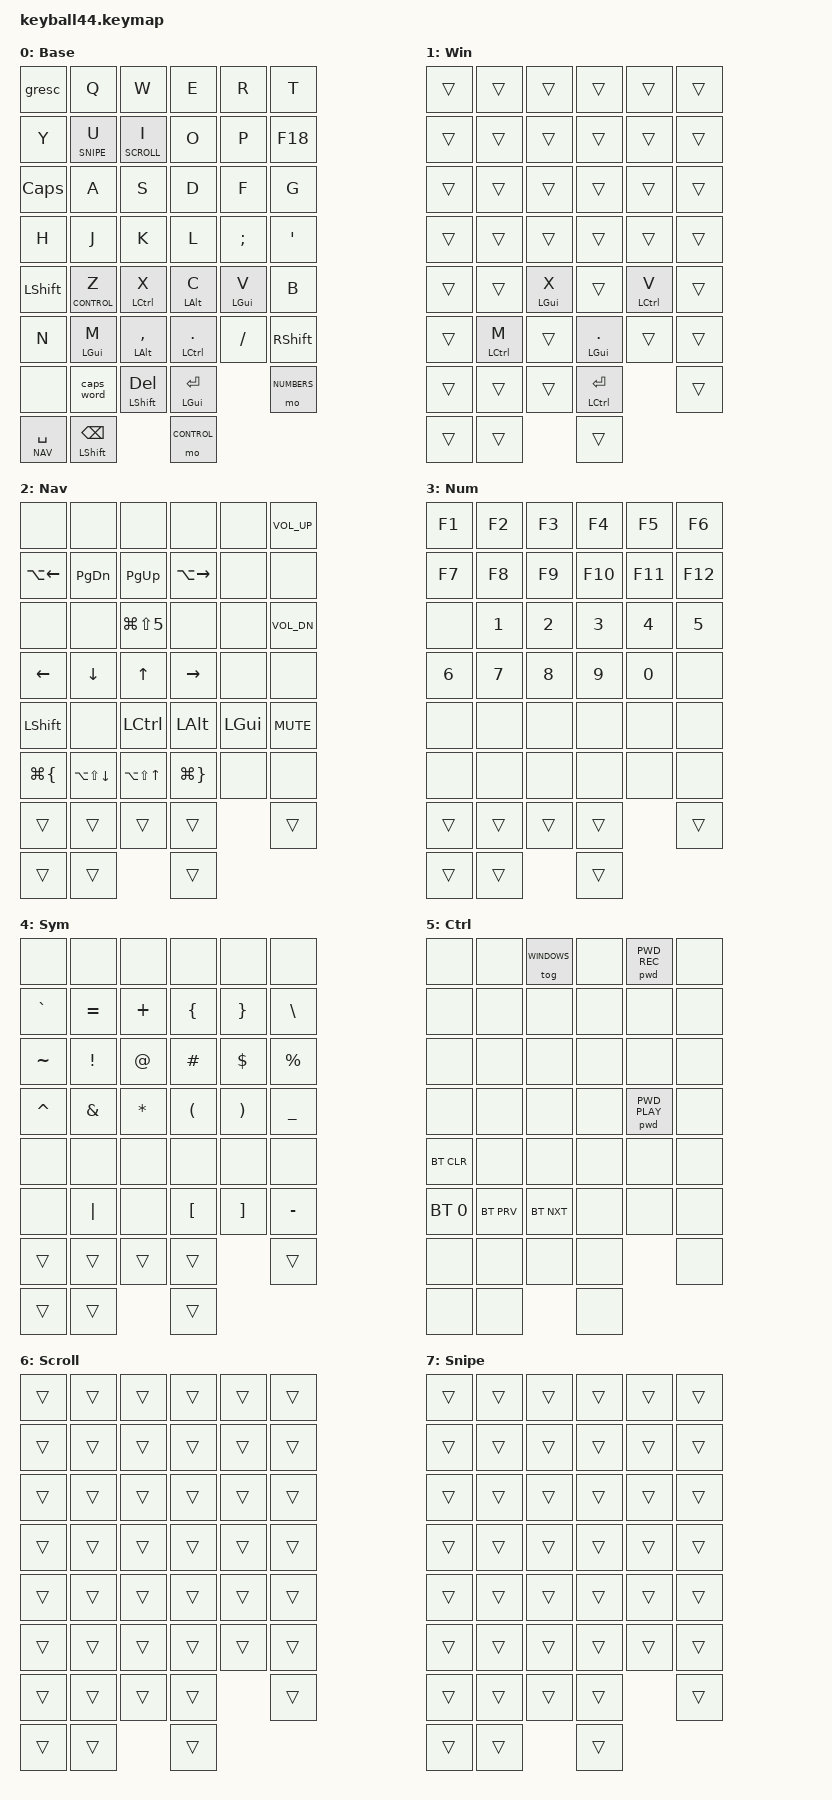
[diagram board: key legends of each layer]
#define DEFAULT 0
#define WINDOWS 1
#define NAV     2
#define NUMBERS 3
#define SYMBOL  4
#define CONTROL 5
#define SCROLL  6
#define SNIPE   7

// &pwd params (see behaviors { pwd } below)
#define PWD_REC  0
#define PWD_PLAY 1
#define PWD_CLR  2

#include <behaviors/mouse_keys.dtsi>
#include <behaviors.dtsi>
#include <dt-bindings/zmk/bt.h>
#include <dt-bindings/zmk/keys.h>
#include <dt-bindings/zmk/mouse.h>
#include <dt-bindings/zmk/rgb.h>
#include <dt-bindings/zmk/ext_power.h>
#include <dt-bindings/zmk/backlight.h>

// nice!view CS override moved to keyball44_{left,right}.overlay so this keymap
// stays display-free and can be shared with the display-less dongle build.

&lt {
    tapping-term-ms = <240>;
    flavor = "balanced";
    quick-tap-ms = <150>;
    // Don't treat U/I/SPACE/Z as a layer-hold if you were just typing.
    // This is the main fix for dropped letters on fast rolls.
    require-prior-idle-ms = <150>;
};

&mt {
    tapping-term-ms = <200>;
    flavor = "tap-preferred";
    quick-tap-ms = <150>;
    require-prior-idle-ms = <125>;
};

// continue-list REPLACES ZMK's default (UNDERSCORE BACKSPACE DELETE), so the
// defaults must be listed again or fixing a typo ends caps word.
&caps_word { continue-list = <UNDERSCORE MINUS BACKSPACE DELETE>; };

/ {
    combos {
        compatible = "zmk,combos";
        // NOTE: no require-prior-idle-ms here on purpose -- it made combos you
        // fire right after typing (e.g. ' = L+;) feel laggy. The 50ms two-key
        // window is the only guard. If a specific combo misfires mid-word,
        // add a SMALL require-prior-idle-ms (~40) to just that one.
        combo_esc {
            timeout-ms = <50>;
            key-positions = <2 3>;
            bindings = <&gresc>;
        };
        combo_tab {
            timeout-ms = <50>;
            key-positions = <14 15>;
            bindings = <&kp TAB>;
        };
        combo_quote {
            timeout-ms = <50>;
            key-positions = <21 22>;
            bindings = <&kp SQT>;
        };
        combo_left_click {
            timeout-ms = <50>;
            key-positions = <19 20>;
            bindings = <&mkp LCLK>;
        };
        combo_right_click {
            timeout-ms = <50>;
            key-positions = <20 21>;
            bindings = <&mkp RCLK>;
        };
        combo_symbol {
            timeout-ms = <50>;
            key-positions = <41 42>;
            bindings = <&mo SYMBOL>;
        };
        combo_minus {
            timeout-ms = <50>;
            key-positions = <9 10>;
            bindings = <&kp MINUS>;
        };
        // P+\ = pipe (next to the backslash key it shifts from).
        // Plus = ;+' (was I+O). Moved 2026-11-11 to test the random "iii"
        // repeats: I (&lt SCROLL I) was the only key that was BOTH a hold-tap
        // and a combo member, and that pairing is a known way for ZMK to
        // lose a key-up (host then auto-repeats). Keep hold-tap keys out of
        // combos. If the repeats continue, this wasn't it -- look at BLE.
        combo_plus {
            timeout-ms = <50>;
            key-positions = <22 23>;
            bindings = <&kp PLUS>;
        };
        combo_pipe {
            timeout-ms = <50>;
            key-positions = <10 11>;
            bindings = <&kp PIPE>;
        };
        // Left-hand space (D+F), one column over from S+D=tab. Lets you hit
        // space while the right thumb is busy holding NAV or the SYMBOL combo.
        // If it misfires on fast d->f rolls ("handful", "mindful"), add a
        // small require-prior-idle-ms (~40) to just this combo.
        // Hold Z or the rightmost thumb (CONTROL), then T+Y together =
        // dongle into flash mode.
        // Three keys across both hands on purpose: an accidental hit leaves
        // the keyboard dead until you flash or unplug the dongle.
        combo_dongle_boot {
            timeout-ms = <50>;
            key-positions = <5 6>;
            layers = <CONTROL>;
            bindings = <&dongle_boot>;
        };
        // Hold Z or the rightmost thumb (CONTROL), then:
        //   Esc + left Shift   (0+24)  = LEFT half into flash mode
        //   F18 + right Shift  (11+35) = RIGHT half into flash mode
        // Combos run on the dongle, so stock &bootloader would reboot the
        // dongle; &half_boot forwards it to the half that owns the position.
        // CONTROL-only, so Shift+Esc (~) on the base layer is untouched.
        combo_left_boot {
            timeout-ms = <50>;
            key-positions = <0 24>;
            layers = <CONTROL>;
            bindings = <&half_boot 24>;
        };
        combo_right_boot {
            timeout-ms = <50>;
            key-positions = <11 35>;
            layers = <CONTROL>;
            bindings = <&half_boot 35>;
        };
        combo_space {
            timeout-ms = <50>;
            key-positions = <15 16>;
            bindings = <&kp SPACE>;
        };
    };

    behaviors {
        hm: homerow_mods {
            compatible = "zmk,behavior-hold-tap";
            label = "HOMEROW_MODS";
            #binding-cells = <2>;
            tapping-term-ms = <250>;
            quick-tap-ms = <150>;
            require-prior-idle-ms = <125>;
            flavor = "tap-preferred";
            bindings = <&kp>, <&kp>;
        };

        // Thumb mods: NO require-prior-idle-ms. Thumbs get pressed right after
        // typing/layer taps by design, so the "instant tap if recently typed"
        // rule that protects the finger home-row mods turns Cmd-holds into
        // stray Enters here. Balanced flavor so chording another key while
        // holding resolves as the modifier without waiting out the term.
        hmt: thumb_mods {
            compatible = "zmk,behavior-hold-tap";
            label = "THUMB_MODS";
            #binding-cells = <2>;
            tapping-term-ms = <200>;
            quick-tap-ms = <150>;
            flavor = "balanced";
            bindings = <&kp>, <&kp>;
        };

        bkspc_shft: backspace_shift {
            compatible = "zmk,behavior-hold-tap";
            label = "BACKSPACE_SHIFT";
            #binding-cells = <2>;
            tapping-term-ms = <200>;
            quick-tap-ms = <175>;
            flavor = "tap-preferred";
            bindings = <&kp>, <&kp>;
        };
        
        // RAM-only password macro (src/behavior_ram_macro.c). PWD_REC, type
        // the password (it still reaches the host, so type it into the real
        // prompt), then Enter/Esc saves it -- the Enter/Esc itself is sent
        // but not stored. PWD_PLAY types it back. Lives only in the central's
        // RAM: gone on reset/power loss, never in flash or over split BLE.
        // 30s of no typing while recording aborts + wipes.
        pwd: password_macro {
            compatible = "zmk,behavior-ram-macro";
            #binding-cells = <1>;
            display-name = "Password Macro";
        };

        // Reboot the DONGLE into its UF2 bootloader (mounts as NICENANO), so
        // re-flashing it needs no RST-GND short. Stock &bootloader can't do
        // this: it reboots whichever half the key is on. See
        // src/behavior_central_bootloader.c. Bound to the CONTROL-layer T+Y
        // combo below.
        dongle_boot: dngboot {
            compatible = "zmk,behavior-central-reset";
            type = <RST_UF2>;
            #binding-cells = <0>;
            display-name = "Dongle Bootloader";
        };

        // Reboot one HALF into its UF2 bootloader from a combo. Param = a key
        // position on that half (src/behavior_half_bootloader.c).
        half_boot: half_bootloader {
            compatible = "zmk,behavior-half-bootloader";
            #binding-cells = <1>;
            display-name = "Half Bootloader";
        };

        gresc: grave_escape {
            compatible = "zmk,behavior-mod-morph";
            label = "GRAVE_ESCAPE";
            #binding-cells = <0>;
            bindings = <&kp ESC>, <&kp GRAVE>;
            mods = <(MOD_LGUI|MOD_LSFT|MOD_RGUI|MOD_RSFT)>;
            // Keep shift so shift+combo yields ~ (tilde), not a bare backtick.
            keep-mods = <(MOD_LGUI|MOD_RGUI|MOD_LSFT|MOD_RSFT)>;
        };
    };

    keymap {
        compatible = "zmk,keymap";

        default_layer {
            label = "DEFAULT";
            display-name = "Base";
            bindings = <
// Row 0 Left - 6 keys
&gresc          &kp Q      &kp W      &kp E      &kp R      &kp T
// Row 0 Right - 6 keys
// Far-right key = F18, the meeting mute/push-to-talk key. Tap/hold logic and
// the actual mic muting live in Hammerspoon on the Mac (~/.hammerspoon), so it
// works in Meet/Teams/Zoom without focus. Backslash is still on SYMBOL, and
// the P+\ pipe combo still fires (it's by position).
&kp Y           &lt SNIPE U &lt SCROLL I &kp O      &kp P      &kp F18
// Row 1 Left - 6 keys
&kp CAPS        &kp A      &kp S      &kp D      &kp F      &kp G
// Row 1 Right - 6 keys
&kp H           &kp J      &kp K      &kp L      &kp SEMI   &kp SQT
// Row 2 Left - 6 keys
&kp LEFT_SHIFT  &lt CONTROL Z &hm LCTRL X &hm LALT C &hm LGUI V &kp B
// Row 2 Right - 6 keys
&kp N           &hm LGUI M &hm LALT COMMA &hm LCTRL DOT &kp SLASH  &kp RIGHT_SHIFT
// Row 3 - Thumb row (5 left + 3 right = 8 keys)
// Left thumb keys (5 keys): first was dead -> now caps_word
&none           &caps_word &hmt LSHFT DEL &hmt LGUI RET &mo NUMBERS
// Right thumb keys (3 keys)
// Rightmost thumb = hold for CONTROL (same as holding Z).
&lt NAV SPACE    &bkspc_shft LSHFT BSPC &mo CONTROL
            >;
        };

        // Toggle (via CONTROL layer) that swaps GUI<->CTRL so the same fingers
        // that hit Cmd on macOS hit Ctrl on Windows/Linux. Everything else
        // falls through (&trans) to the base layer.
        windows {
            label = "WINDOWS";
            display-name = "Win";
            bindings = <
// Row 0 Left - 6 keys
&trans          &trans     &trans     &trans     &trans     &trans
// Row 0 Right - 6 keys
&trans          &trans     &trans     &trans     &trans     &trans
// Row 1 Left - 6 keys
&trans          &trans     &trans     &trans     &trans     &trans
// Row 1 Right - 6 keys
&trans          &trans     &trans     &trans     &trans     &trans
// Row 2 Left - 6 keys  (X: CTRL->GUI, V: GUI->CTRL)
&trans          &trans     &hm LGUI X &trans     &hm LCTRL V &trans
// Row 2 Right - 6 keys (M: GUI->CTRL, DOT: CTRL->GUI)
&trans          &hm LCTRL M &trans    &hm LGUI DOT &trans    &trans
// Row 3 - Thumb row (RET: GUI->CTRL)
&trans          &trans     &trans     &hmt LCTRL RET &trans
&trans          &trans     &trans
            >;
        };

        nav {
            label = "NAV";
            display-name = "Nav";
            // Right hand: arrows on HJKL home row; the row above is the
            // "amplified" version of the arrow below it -- Y=word-left over
            // left, U=page-down over down, I=page-up over up, O=word-right
            // over right.
            // Left hand: plain mods on the SAME fingers as the base-layer
            // homerow mods (X=Ctrl, C=Opt, V=Cmd) plus pinky Shift, so
            // Space+C+H/L = word jump, Space+V+H/L = line start/end, and
            // adding pinky Shift turns any of it into selection.
            // S = screenshot (Cmd+Shift+5 -> CleanShot X).
            bindings = <
// Row 0 Left - 6 keys
&none           &none      &none      &none      &none      &kp C_VOL_UP
// Row 0 Right - 6 keys
&kp LA(LEFT)    &kp PG_DN  &kp PG_UP  &kp LA(RIGHT) &none   &none
// Row 1 Left - 6 keys
&none           &none      &kp LG(LS(N5)) &none  &none      &kp C_VOL_DN
// Row 1 Right - 6 keys
&kp LEFT        &kp DOWN   &kp UP     &kp RIGHT  &none      &none
// Row 2 Left - 6 keys
&kp LSHFT       &none      &kp LCTRL  &kp LALT   &kp LGUI   &kp C_MUTE
// Row 2 Right - 6 keys
&kp LG(LBRC)    &kp LA(LS(DOWN)) &kp LA(LS(UP)) &kp LG(RBRC) &none &none
// Row 3 - Thumb row: pass through, so Enter/Del work while holding NAV and
// holding the Del thumb (Shift) + HJKL selects.
&trans          &trans     &trans     &trans     &trans
&trans          &trans     &trans
            >;
        };

        numbers {
            label = "NUMBERS";
            display-name = "Num";
            bindings = <
// Row 0 Left - 6 keys
&kp F1          &kp F2     &kp F3     &kp F4     &kp F5     &kp F6
// Row 0 Right - 6 keys
&kp F7          &kp F8     &kp F9     &kp F10    &kp F11    &kp F12
// Row 1 Left - 6 keys
&none           &kp N1     &kp N2     &kp N3     &kp N4     &kp N5
// Row 1 Right - 6 keys
&kp N6          &kp N7     &kp N8     &kp N9     &kp N0     &none
// Row 2 Left - 6 keys
&none           &none      &none      &none      &none      &none
// Row 2 Right - 6 keys
&none           &none      &none      &none      &none      &none
// Row 3 - Thumb row
&trans          &trans     &trans     &trans     &trans
&trans          &trans     &trans
            >;
        };

        // Home row = the shifted number row of a normal keyboard, ~ through _.
        // Each symbol sits on the key its digit uses on NUMBERS (! on A = 1,
        // ( on L = 9). Bracket family stacked on L/; : { } above, ( ) home,
        // [ ] below. _ over - at the far right, like a real -/_ key.
        symbol {
            label = "SYMBOL";
            display-name = "Sym";
            bindings = <
// Row 0 Left - 6 keys
&none           &none      &none      &none      &none      &none
// Row 0 Right - 6 keys
&kp GRAVE       &kp EQUAL  &kp PLUS   &kp LBRC   &kp RBRC   &kp BSLH
// Row 1 Left - 6 keys
&kp TILDE       &kp EXCL   &kp AT     &kp HASH   &kp DLLR   &kp PRCNT
// Row 1 Right - 6 keys
&kp CARET       &kp AMPS   &kp STAR   &kp LPAR   &kp RPAR   &kp UNDER
// Row 2 Left - 6 keys
&none           &none      &none      &none      &none      &none
// Row 2 Right - 6 keys
&none           &kp PIPE   &none      &kp LBKT   &kp RBKT   &kp MINUS
// Row 3 - Thumb row
&trans          &trans     &trans     &trans     &trans
&trans          &trans     &trans
            >;
        };

        CONTROL {
            label = "CONTROL";
            display-name = "Ctrl";
            bindings = <
// Row 0 Left - 6 keys  (R = record password macro)
// (Esc alone no longer flashes: it's the Esc+LShift combo now.)
&none           &none      &tog WINDOWS      &none      &pwd PWD_REC &none
// Row 0 Right - 6 keys
// (Half flashing = CONTROL combos Esc+LShift / F18+RShift, see combos.)
&none           &none      &none      &none      &none      &none
// Row 1 Left - 6 keys
&none           &none      &none      &none      &none      &none
// Row 1 Right - 6 keys  (; = play password macro)
&none           &none      &none      &none      &pwd PWD_PLAY &none
// Row 2 Left - 6 keys
&bt BT_CLR      &none      &none      &none      &none      &none
// Row 2 Right - 6 keys
&bt BT_SEL 0     &bt BT_PRV &bt BT_NXT &none &none &none
// Row 3 - Thumb row
&none           &none      &none      &none     &none
&none           &none      &none
            >;
        };

        scroll {
            label = "SCROLL";
            display-name = "Scroll";
            bindings = <
// Row 0 Left - 6 keys
&trans          &trans     &trans     &trans     &trans     &trans
// Row 0 Right - 6 keys
&trans          &trans     &trans     &trans     &trans     &trans
// Row 1 Left - 6 keys
&trans          &trans     &trans     &trans     &trans     &trans
// Row 1 Right - 6 keys
&trans          &trans     &trans     &trans     &trans     &trans
// Row 2 Left - 6 keys
&trans          &trans     &trans     &trans     &trans     &trans
// Row 2 Right - 6 keys
&trans          &trans     &trans     &trans     &trans     &trans
// Row 3 - Thumb row
&trans          &trans     &trans     &trans     &trans
&trans          &trans     &trans
            >;
        };

        snipe {
            label = "SNIPE";
            display-name = "Snipe";
            bindings = <
// Row 0 Left - 6 keys
&trans          &trans     &trans     &trans     &trans     &trans
// Row 0 Right - 6 keys
&trans          &trans     &trans     &trans     &trans     &trans
// Row 1 Left - 6 keys
&trans          &trans     &trans     &trans     &trans     &trans
// Row 1 Right - 6 keys
&trans          &trans     &trans     &trans     &trans     &trans
// Row 2 Left - 6 keys
&trans          &trans     &trans     &trans     &trans     &trans
// Row 2 Right - 6 keys
&trans          &trans     &trans     &trans     &trans     &trans
// Row 3 - Thumb row
&trans          &trans     &trans     &trans     &trans
&trans          &trans     &trans
            >;
        };
    };
};
